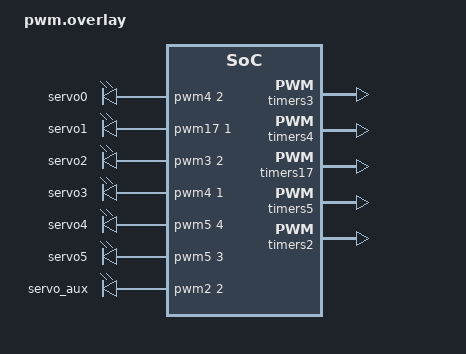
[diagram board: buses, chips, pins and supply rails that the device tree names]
/*
 * pwm.overlay (G474 / SHIELD rev3) — mappa DEFINITIVA WEACT_PINS.md §10.
 *
 * Gruppo 50 Hz (LDX-218, periodo 20 ms):
 *   BASE   = PB7 TIM4_CH2 (J3)     YAW    = PB6 TIM4_CH1 (J7)
 *   SPALLA = PB9 TIM17_CH1 (J4)    GOMITO = PB5 TIM3_CH2 (J6)
 *   AUX    = PA1 TIM2_CH2 (J13, riserva fuori dal modello 6-DOF)
 * Gruppo 330 Hz (INJS, periodo 3030303 ns):
 *   ROLL   = PA2 TIM5_CH3 (J16)    PITCH  = PA3 TIM5_CH4 (J14)
 *
 * Un timer = un periodo: TIM3/TIM4/TIM17/TIM2 a 50 Hz, TIM5 a 330 Hz.
 * st,prescaler = 169: clock timer 170 MHz -> tick 1 MHz (1 us).
 * Gli indici servo0..5 mantengono l'ordine storico di servo_control.c
 * (BASE, SPALLA, GOMITO, YAW, PITCH, ROLL).
 */
#include <zephyr/dt-bindings/pwm/pwm.h>

/ {
	pwm_servos: pwm-servos {
		compatible = "pwm-leds";
		status = "okay";

		servo0: servo0 {
			pwms = <&pwm4 2 20000000 PWM_POLARITY_NORMAL>; /* BASE = PB7 TIM4_CH2 */
		};
		servo1: servo1 {
			pwms = <&pwm17 1 20000000 PWM_POLARITY_NORMAL>; /* SPALLA = PB9 TIM17_CH1 */
		};
		servo2: servo2 {
			pwms = <&pwm3 2 20000000 PWM_POLARITY_NORMAL>; /* GOMITO = PB5 TIM3_CH2 */
		};
		servo3: servo3 {
			pwms = <&pwm4 1 20000000 PWM_POLARITY_NORMAL>; /* YAW = PB6 TIM4_CH1 */
		};
		servo4: servo4 {
			pwms = <&pwm5 4 3030303 PWM_POLARITY_NORMAL>; /* PITCH = PA3 TIM5_CH4 @330Hz */
		};
		servo5: servo5 {
			pwms = <&pwm5 3 3030303 PWM_POLARITY_NORMAL>; /* ROLL = PA2 TIM5_CH3 @330Hz */
		};
		servo_aux: servo-aux {
			pwms = <&pwm2 2 20000000 PWM_POLARITY_NORMAL>; /* AUX = PA1 TIM2_CH2 */
		};
	};

	aliases {
		pwm-servo0 = &servo0;
		pwm-servo1 = &servo1;
		pwm-servo2 = &servo2;
		pwm-servo3 = &servo3;
		pwm-servo4 = &servo4;
		pwm-servo5 = &servo5;
		pwm-aux = &servo_aux;
	};
};

&timers3 {
	st,prescaler = <169>;
	status = "okay";
	pwm3: pwm {
		status = "okay";
		pinctrl-0 = <&tim3_ch2_pb5>;
		pinctrl-names = "default";
	};
};

&timers4 {
	st,prescaler = <169>;
	status = "okay";
	pwm4: pwm {
		status = "okay";
		pinctrl-0 = <&tim4_ch1_pb6 &tim4_ch2_pb7>;
		pinctrl-names = "default";
	};
};

&timers17 {
	st,prescaler = <169>;
	status = "okay";
	pwm17: pwm {
		status = "okay";
		pinctrl-0 = <&tim17_ch1_pb9>;
		pinctrl-names = "default";
	};
};

&timers5 {
	st,prescaler = <169>;
	status = "okay";
	pwm5: pwm {
		status = "okay";
		pinctrl-0 = <&tim5_ch3_pa2 &tim5_ch4_pa3>;
		pinctrl-names = "default";
	};
};

&timers2 {
	st,prescaler = <169>;
	status = "okay";
	pwm2: pwm {
		status = "okay";
		pinctrl-0 = <&tim2_ch2_pa1>;
		pinctrl-names = "default";
	};
};
